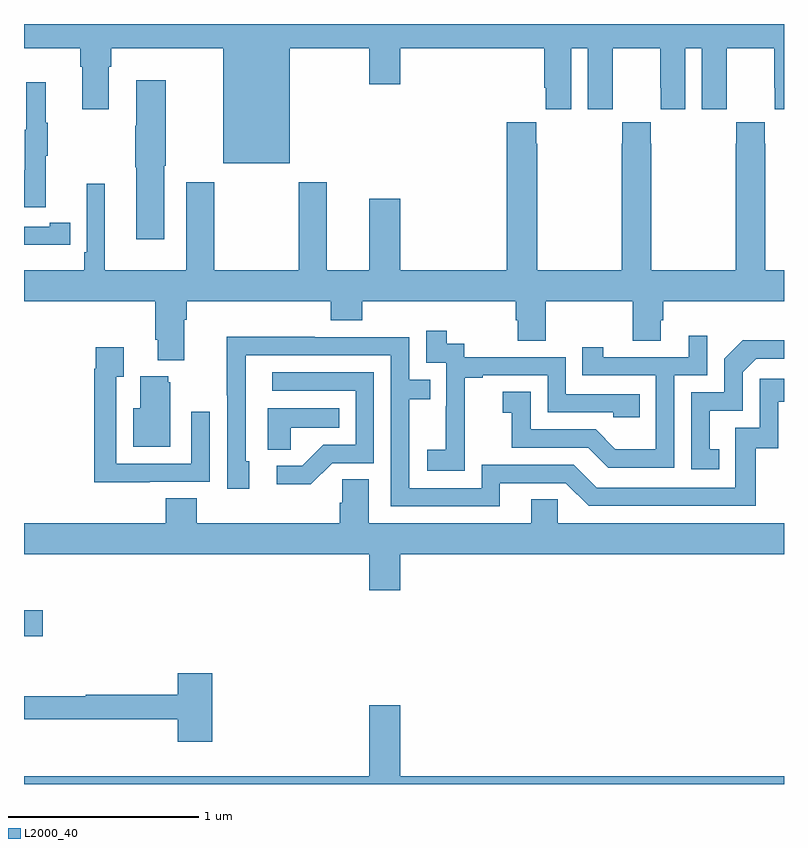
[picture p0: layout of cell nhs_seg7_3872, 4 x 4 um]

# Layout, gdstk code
import gdstk
lib = gdstk.Library(unit=1e-6, precision=1e-09)
def R(c, l, rs):  # rectangles x0, y0, x1, y1
    for r in rs: c.add(gdstk.rectangle(r[:2], r[2:], *l))
def P(c, l, *ps):  # polygons
    for p in ps: c.add(gdstk.Polygon(p, *l))
L2000_40 = (2000, 40)

nhs_seg7_3872 = lib.new_cell('nhs_seg7_3872')
R(nhs_seg7_3872, L2000_40, [(355,1074.778,355.099,1074.915)])
P(nhs_seg7_3872, L2000_40, [(356.398,1077.872),(356.816,1077.872),(356.816,1077.684),(356.98,1077.684),(356.98,1077.872),(357.737,1077.872),(357.737,1077.664),(357.746,1077.664),(357.746,1077.552),(357.88,1077.552),(357.88,1077.872),(357.968,1077.872),(357.968,1077.552),(358.098,1077.552),(358.098,1077.664),(358.099,1077.664),(358.099,1077.872),(358.349,1077.872),(358.349,1077.664),(358.35,1077.664),(358.35,1077.552),(358.48,1077.552),(358.48,1077.872),(358.568,1077.872),(358.568,1077.552),(358.698,1077.552),(358.698,1077.664),(358.699,1077.664),(358.699,1077.872),(358.949,1077.872),(358.949,1077.664),(358.95,1077.664),(358.95,1077.552),(359,1077.552),(359,1078),(355,1078),(355,1077.872),(355.295,1077.872),(355.295,1077.776),(355.307,1077.776),(355.307,1077.552),(355.447,1077.552),(355.447,1077.776),(355.46,1077.776),(355.46,1077.872),(356.048,1077.872),(356.048,1077.266),(356.398,1077.266)],
  [(355.738,1077.253),(355.746,1077.253),(355.746,1077.703),(355.592,1077.703),(355.592,1077.464),(355.585,1077.464),(355.585,1077.247),(355.592,1077.247),(355.592,1076.868),(355.738,1076.868)],
  [(355.115,1077.307),(355.126,1077.307),(355.126,1077.481),(355.115,1077.481),(355.115,1077.694),(355.012,1077.694),(355.012,1077.444),(355.005,1077.444),(355.005,1077.23),(355,1077.23),(355,1077.036),(355.115,1077.036)],
  [(355.843,1076.444),(355.856,1076.444),(355.856,1076.54),(356.615,1076.54),(356.615,1076.441),(356.78,1076.441),(356.78,1076.54),(357.587,1076.54),(357.587,1076.442),(357.599,1076.442),(357.599,1076.332),(357.747,1076.332),(357.747,1076.54),(358.204,1076.54),(358.204,1076.332),(358.351,1076.332),(358.351,1076.442),(358.364,1076.442),(358.364,1076.54),(359,1076.54),(359,1076.704),(358.902,1076.704),(358.902,1077.371),(358.899,1077.371),(358.899,1077.484),(358.749,1077.484),(358.749,1077.371),(358.747,1077.371),(358.747,1076.704),(358.302,1076.704),(358.302,1077.371),(358.299,1077.371),(358.299,1077.484),(358.149,1077.484),(358.149,1077.371),(358.147,1077.371),(358.147,1076.704),(357.702,1076.704),(357.702,1077.371),(357.695,1077.371),(357.695,1077.484),(357.542,1077.484),(357.542,1076.704),(356.98,1076.704),(356.98,1077.079),(356.816,1077.079),(356.816,1076.704),(356.593,1076.704),(356.593,1077.166),(356.446,1077.166),(356.446,1076.704),(356.001,1076.704),(356.001,1077.166),(355.853,1077.166),(355.853,1076.704),(355.426,1076.704),(355.426,1077.16),(355.329,1077.16),(355.329,1076.8),(355.316,1076.8),(355.316,1076.704),(355,1076.704),(355,1076.54),(355.691,1076.54),(355.691,1076.338),(355.703,1076.338),(355.703,1076.231),(355.843,1076.231)],
  [(355.136,1076.838),(355.244,1076.838),(355.244,1076.954),(355.136,1076.954),(355.136,1076.934),(355,1076.934),(355,1076.837),(355.136,1076.837)],
  [(357.321,1075.855),(357.32,1075.855),(357.32,1076.139),(357.415,1076.139),(357.415,1076.151),(357.756,1076.151),(357.756,1075.956),(358.101,1075.956),(358.101,1075.929),(358.241,1075.929),(358.241,1076.052),(357.852,1076.052),(357.852,1076.247),(357.318,1076.247),(357.318,1076.316),(357.226,1076.316),(357.226,1076.386),(357.117,1076.386),(357.117,1076.217),(357.222,1076.217),(357.222,1075.988),(357.221,1075.988),(357.221,1075.759),(357.123,1075.759),(357.123,1075.649),(357.321,1075.649)],
  [(358.422,1076.151),(358.596,1076.151),(358.596,1076.359),(358.499,1076.359),(358.499,1076.247),(358.048,1076.247),(358.048,1076.299),(357.937,1076.299),(357.937,1076.151),(358.326,1076.151),(358.326,1075.762),(358.112,1075.762),(358.008,1075.866),(357.666,1075.866),(357.666,1076.065),(357.519,1076.065),(357.519,1075.955),(357.568,1075.955),(357.568,1075.77),(357.971,1075.77),(358.076,1075.665),(358.422,1075.665)],
  [(357.505,1075.584),(357.852,1075.584),(357.972,1075.464),(358.852,1075.464),(358.852,1075.767),(358.97,1075.767),(358.97,1076.013),(359,1076.013),(359,1076.134),(358.872,1076.134),(358.872,1075.875),(358.743,1075.875),(358.743,1075.56),(358.014,1075.56),(357.894,1075.68),(357.408,1075.68),(357.408,1075.557),(357.027,1075.557),(357.027,1076.026),(357.137,1076.026),(357.137,1076.127),(357.027,1076.127),(357.027,1076.352),(356.531,1076.352),(356.531,1076.354),(356.068,1076.354),(356.068,1076.047),(356.07,1076.047),(356.07,1075.554),(356.185,1075.554),(356.185,1075.698),(356.166,1075.698),(356.166,1076.256),(356.931,1076.256),(356.931,1075.461),(357.505,1075.461)],
  [(358.658,1075.761),(358.609,1075.761),(358.609,1075.965),(358.782,1075.965),(358.782,1076.166),(358.854,1076.238),(359,1076.238),(359,1076.336),(358.784,1076.336),(358.686,1076.238),(358.686,1076.061),(358.512,1076.061),(358.512,1075.656),(358.658,1075.656)],
  [(355.661,1075.59),(355.977,1075.59),(355.977,1075.96),(355.881,1075.96),(355.881,1075.686),(355.485,1075.686),(355.485,1076.143),(355.525,1076.143),(355.525,1076.299),(355.377,1076.299),(355.377,1076.186),(355.369,1076.186),(355.369,1075.589),(355.661,1075.589)],
  [(356.622,1075.689),(356.841,1075.689),(356.841,1076.166),(356.307,1076.166),(356.307,1076.07),(356.745,1076.07),(356.745,1075.785),(356.576,1075.785),(356.465,1075.674),(356.331,1075.674),(356.331,1075.577),(356.509,1075.577)],
  [(355.771,1076.115),(355.76,1076.115),(355.76,1076.146),(355.613,1076.146),(355.613,1075.978),(355.574,1075.978),(355.574,1075.775),(355.771,1075.775)],
  [(356.403,1075.874),(356.66,1075.874),(356.66,1075.978),(356.282,1075.978),(356.282,1075.759),(356.403,1075.759)],
  [(356.98,1075.208),(359,1075.208),(359,1075.372),(357.81,1075.372),(357.81,1075.499),(357.671,1075.499),(357.671,1075.372),(356.815,1075.372),(356.815,1075.604),(356.676,1075.604),(356.676,1075.481),(356.663,1075.481),(356.663,1075.372),(355.91,1075.372),(355.91,1075.505),(355.745,1075.505),(355.745,1075.372),(355,1075.372),(355,1075.208),(356.816,1075.208),(356.816,1075.02),(356.98,1075.02)],
  [(355.991,1074.583),(355.808,1074.583),(355.808,1074.47),(355.324,1074.47),(355.324,1074.463),(355,1074.463),(355,1074.342),(355.808,1074.342),(355.808,1074.222),(355.991,1074.222)],
  [(359,1074.04),(356.98,1074.04),(356.98,1074.415),(356.816,1074.415),(356.816,1074.04),(355,1074.04),(355,1074),(359,1074)])

lib.write_gds('nhs_seg7_3872.gds')
